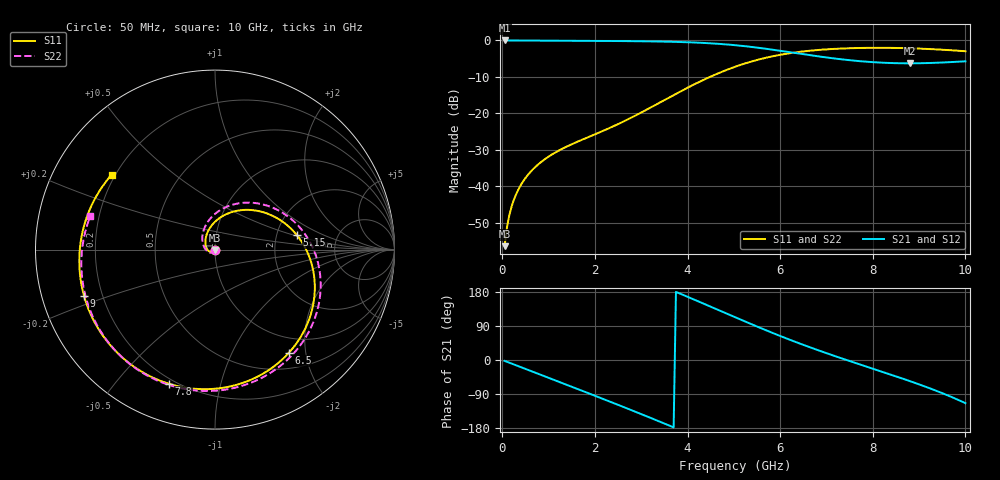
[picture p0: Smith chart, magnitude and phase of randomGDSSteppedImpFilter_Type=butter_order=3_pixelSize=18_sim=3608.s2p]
! freq	dB(S11)	phase(S11)	dB(S12)	phase(S12)
!  dB(S21)	phase(S21)	dB(S22)	phase(S22)
!S-par simulation data
#  GHz  S  DB  R 50
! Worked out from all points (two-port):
!   200 points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, 50 MHz to 10 GHz, reference 50 ohm
!   highest |S21| = 0.00 dB at 50 MHz (marker M1); lowest = -6.3 dB at 8.8 GHz (marker M2)
!   |S21| within 3 dB of the highest: start of sweep to 6.095 GHz
!   lowest |S11| = -56.4 dB at 50 MHz (marker M3), VSWR 1.00, Z = 50 - j0.148 ohm
!   |S11| at or under -10 dB: start of sweep to 4.482 GHz
!   |S22| runs from -56.4 to -2.0 dB; largest |S21 - S12| = 0
!   S11 on the Smith chart (normalised r, x): 50 MHz: 1.00, -0.00; 5.15 GHz: 2.60, +0.53; 6.5 GHz: 0.73, -1.70; 7.8 GHz: 0.18, -0.70; 9 GHz: 0.13, -0.17; 10 GHz: 0.19, +0.31
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0.05  -56.35 -77.2  -0.00 -2.4  -0.00 -2.4  -56.36 -76.5
0.1  -51.24 -85.8  -0.01 -4.8  -0.01 -4.8  -51.23 -84.9
0.2  -45.54 -96.0  -0.02 -9.5  -0.02 -9.5  -45.52 -94.2
0.5  -37.70 -115.6  -0.03 -23.5  -0.03 -23.5  -37.69 -111.3
1.15  -30.66 -151.5  -0.07 -54.1  -0.07 -54.1  -30.71 -141.3
1.75  -27.05 176.7  -0.10 -82.4  -0.10 -82.4  -27.16 -167.8
2.55  -22.62 136.2  -0.17 -120.7  -0.17 -120.7  -22.76 155.7
3.4  -17.02 95.7  -0.29 -162.6  -0.29 -162.6  -17.12 113.5
4.15  -12.00 59.7  -0.56 159.1  -0.56 159.1  -12.05 74.0
4.65  -9.07 35.0  -0.91 132.8  -0.91 132.8  -9.10 47.2
5.05  -7.11 15.0  -1.33 111.7  -1.33 111.7  -7.13 25.9
5.15  -6.68 10.0  -1.45 106.5  -1.45 106.5  -6.69 20.6
5.85  -4.30 -24.5  -2.55 70.7  -2.55 70.7  -4.31 -15.3
6.5  -3.01 -54.6  -3.77 39.9  -3.77 39.9  -3.00 -46.0
6.7  -2.74 -63.4  -4.14 31.0  -4.14 31.0  -2.73 -54.9
7.25  -2.26 -86.6  -5.06 7.5  -5.06 7.5  -2.24 -78.1
7.8  -2.04 -109.1  -5.76 -14.8  -5.76 -14.8  -2.01 -100.0
8.35  -2.02 -131.7  -6.17 -37.0  -6.17 -37.0  -1.98 -121.5
8.8  -2.14 -151.2  -6.27 -55.6  -6.27 -55.6  -2.08 -139.4
9  -2.23 -160.4  -6.25 -64.3  -6.25 -64.3  -2.16 -147.7
9.5  -2.54 174.2  -6.05 -87.5  -6.05 -87.5  -2.45 -169.7
10  -2.96 144.0  -5.71 -113.9  -5.71 -113.9  -2.86 165.1
